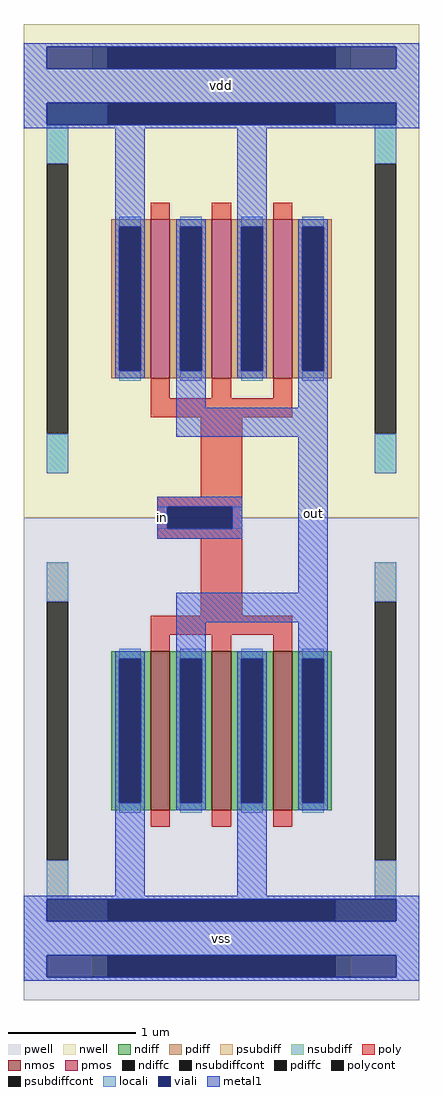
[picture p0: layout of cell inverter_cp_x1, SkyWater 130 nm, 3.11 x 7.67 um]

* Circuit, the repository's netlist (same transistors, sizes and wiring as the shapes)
**.subckt inverter_cp_x1 vss in out vdd
*.iopin vss
*.ipin in
*.opin out
*.iopin vdd
XM2 out in vdd vdd sky130_fd_pr__pfet_01v8 L=0.15 W=1.25 nf=1 ad='int((nf+1)/2) * W/nf * 0.29' as='int((nf+2)/2) * W/nf * 0.29'
+ pd='2*int((nf+1)/2) * (W/nf + 0.29)' ps='2*int((nf+2)/2) * (W/nf + 0.29)' nrd='0.29 / W' nrs='0.29 / W'
+ sa=0 sb=0 sd=0 mult=3 m=3 
XM1 out in vss vss sky130_fd_pr__nfet_01v8 L=0.15 W=1.25 nf=1 ad='int((nf+1)/2) * W/nf * 0.29' as='int((nf+2)/2) * W/nf * 0.29'
+ pd='2*int((nf+1)/2) * (W/nf + 0.29)' ps='2*int((nf+2)/2) * (W/nf + 0.29)' nrd='0.29 / W' nrs='0.29 / W'
+ sa=0 sb=0 sd=0 mult=3 m=3 
**.ends
** flattened .save nodes
.end

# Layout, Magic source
magic
tech sky130A
magscale 1 2
<< nwell >>
rect 0 688 622 776
<< pwell >>
rect 2 -669 622 -626
rect 0 -721 622 -669
rect 2 -722 622 -721
rect 0 -758 622 -722
<< psubdiff >>
rect 108 -722 132 -688
rect 490 -722 514 -688
<< nsubdiff >>
rect 108 706 132 740
rect 490 706 514 740
<< psubdiffcont >>
rect 132 -722 490 -688
<< nsubdiffcont >>
rect 132 706 490 740
<< poly >>
rect 278 33 344 188
rect 210 17 344 33
rect 210 -17 226 17
rect 328 -17 344 17
rect 210 -33 344 -17
rect 278 -184 344 -33
<< polycont >>
rect 226 -17 328 17
<< locali >>
rect 210 -17 226 17
rect 328 -17 344 17
<< viali >>
rect 36 706 132 740
rect 132 706 490 740
rect 490 706 586 740
rect 36 618 586 652
rect 226 -17 328 17
rect 36 -634 586 -600
rect 36 -722 132 -688
rect 132 -722 490 -688
rect 490 -722 586 -688
<< metal1 >>
rect 0 740 622 746
rect 0 706 36 740
rect 586 706 622 740
rect 0 652 622 706
rect 0 618 36 652
rect 586 618 622 652
rect 0 612 622 618
rect 144 469 190 612
rect 336 469 382 612
rect 240 173 286 231
rect 432 173 478 222
rect 240 127 478 173
rect 210 17 344 33
rect 210 -17 226 17
rect 328 -17 344 17
rect 210 -33 344 -17
rect 432 -118 478 127
rect 240 -164 478 -118
rect 240 -210 286 -164
rect 432 -210 478 -164
rect 144 -594 190 -455
rect 336 -594 382 -451
rect 0 -600 622 -594
rect 0 -634 36 -600
rect 586 -634 622 -600
rect 0 -688 622 -634
rect 0 -722 36 -688
rect 586 -722 622 -688
rect 0 -728 622 -722
use sky130_fd_pr__pfet_01v8_7KT7MH  sky130_fd_pr__pfet_01v8_7KT7MH_0
transform 1 0 311 0 1 344
box -311 -344 311 344
use sky130_fd_pr__nfet_01v8_2BS6QM  sky130_fd_pr__nfet_01v8_2BS6QM_0
transform 1 0 311 0 1 -335
box -311 -335 311 335
<< labels >>
rlabel metal1 0 652 622 706 1 vdd
rlabel metal1 0 -688 622 -634 1 vss
rlabel metal1 210 -33 226 33 1 in
rlabel metal1 432 -210 478 222 1 out
<< end >>

# cell sky130_fd_pr__pfet_01v8_7KT7MH: kit device sky130_fd_pr__pfet_01v8, w 1.25 l 0.15 m 1 nf 3 diffcov 100 polycov 100 guard 1 glc 1 grc 1 gtc 1 gbc 0 tbcov 100 rlcov 100 topc 0 botc 1 poverlap 0 doverlap 1 lmin 0.15 wmin 0.42 compatible {sky130_fd_pr__pfet_01v8 sky130_fd_pr__pfet_01v8_lvt sky130_fd_pr__pfet_01v8_hvt sky130_fd_pr__pfet_g5v0d10v5} full_metal 1 viasrc 100 viadrn 100 viagate 100 viagb 0 viagr 0 viagl 0 viagt 0

# cell sky130_fd_pr__nfet_01v8_2BS6QM: kit device sky130_fd_pr__nfet_01v8, w 1.25 l 0.150 m 1 nf 3 diffcov 100 polycov 100 guard 1 glc 1 grc 1 gtc 0 gbc 1 tbcov 100 rlcov 100 topc 1 botc 0 poverlap 0 doverlap 1 lmin 0.15 wmin 0.42 compatible {sky130_fd_pr__nfet_01v8 sky130_fd_pr__nfet_01v8_lvt sky130_fd_bs_flash__special_sonosfet_star sky130_fd_pr__nfet_g5v0d10v5 sky130_fd_pr__nfet_05v0_nvt sky130_fd_pr__nfet_03v3_nvt} full_metal 1 viasrc 100 viadrn 100 viagate 100 viagb 0 viagr 0 viagl 0 viagt 0
